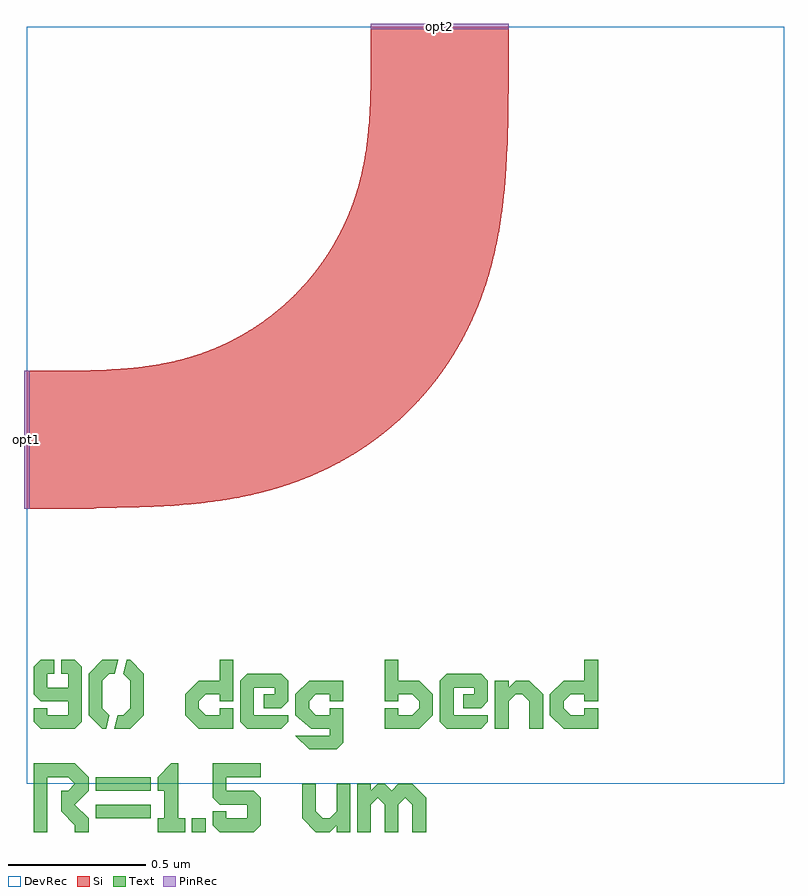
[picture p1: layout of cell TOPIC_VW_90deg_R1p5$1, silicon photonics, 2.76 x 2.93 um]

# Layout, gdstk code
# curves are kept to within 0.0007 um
import gdstk
lib = gdstk.Library(unit=1e-6, precision=1e-09)
def R(c, l, rs):  # rectangles x0, y0, x1, y1
    for r in rs: c.add(gdstk.rectangle(r[:2], r[2:], *l))
def P(c, l, *ps):  # polygons
    for p in ps: c.add(gdstk.Polygon(p, *l))
Si = (1, 0)
PinRec = (1, 10)
Text = (10, 0)
DevRec = (68, 0)

text_gdsfactorypcomponen = lib.new_cell('text_gdsfactorypcomponentsptextsptext_T90_deg_bend*R1p5_308bd01b$1')
R(text_gdsfactorypcomponen, Text, [(0.6,-0.375,0.65,-0.325), (0.25,-0.325,0.45,-0.275), (0.25,-0.225,0.45,-0.175)])
P(text_gdsfactorypcomponen, Text, [(1.05,-0.375),(1,-0.325),(1,-0.2),(1.05,-0.2),(1.05,-0.3),(1.075,-0.325),(1.1,-0.325),(1.125,-0.3),(1.125,-0.2),(1.175,-0.2),(1.175,-0.375),(1.125,-0.375),(1.125,-0.35),(1.1,-0.375)],
  [(0.475,-0.375),(0.475,-0.325),(0.5,-0.325),(0.5,-0.225),(0.475,-0.225),(0.475,-0.175),(0.525,-0.125),(0.55,-0.125),(0.55,-0.325),(0.575,-0.325),(0.575,-0.375)],
  [(1.2,-0.375),(1.2,-0.2),(1.25,-0.2),(1.25,-0.225),(1.275,-0.2),(1.3,-0.2),(1.325,-0.225),(1.35,-0.2),(1.4,-0.2),(1.45,-0.25),(1.45,-0.375),(1.4,-0.375),(1.4,-0.275),(1.375,-0.25),(1.35,-0.275),(1.35,-0.375),(1.3,-0.375),(1.3,-0.275),(1.275,-0.25),(1.25,-0.275),(1.25,-0.375)],
  [(0.8,0),(0.775,0.025),(0.775,0.175),(0.8,0.2),(0.925,0.2),(0.95,0.175),(0.95,0.1),(0.925,0.075),(0.86,0.075),(0.86,0.125),(0.9,0.125),(0.9,0.15),(0.825,0.15),(0.825,0.05),(0.95,0.05),(0.95,0.025),(0.925,0)],
  [(1.525,0),(1.5,0.025),(1.5,0.175),(1.525,0.2),(1.65,0.2),(1.675,0.175),(1.675,0.1),(1.65,0.075),(1.585,0.075),(1.585,0.125),(1.625,0.125),(1.625,0.15),(1.55,0.15),(1.55,0.05),(1.675,0.05),(1.675,0.025),(1.65,0)],
  [(0.05,0),(0.025,0.025),(0.025,0.075),(0.075,0.075),(0.075,0.05),(0.15,0.05),(0.15,0.1),(0.05,0.1),(0.025,0.125),(0.025,0.225),(0.05,0.25),(0.1,0.25),(0.1,0.2),(0.075,0.2),(0.075,0.15),(0.15,0.15),(0.15,0.2),(0.125,0.2),(0.125,0.25),(0.175,0.25),(0.2,0.225),(0.2,0.025),(0.175,0)],
  [(0.275,0),(0.225,0.05),(0.225,0.2),(0.275,0.25),(0.333,0.25),(0.32,0.2),(0.3,0.2),(0.275,0.175),(0.275,0.075),(0.3,0.05),(0.288,0)],
  [(0.025,-0.375),(0.025,-0.125),(0.175,-0.125),(0.225,-0.175),(0.225,-0.225),(0.175,-0.275),(0.225,-0.325),(0.225,-0.375),(0.175,-0.375),(0.175,-0.35),(0.125,-0.3),(0.125,-0.225),(0.15,-0.225),(0.175,-0.2),(0.15,-0.175),(0.075,-0.175),(0.075,-0.375)],
  [(1.025,-0.075),(0.975,-0.025),(1.1,-0.025),(1.1,0),(1.033,0),(0.975,0.05),(0.975,0.125),(1.025,0.175),(1.15,0.175),(1.15,0.1),(1.1,0.1),(1.1,0.125),(1.05,0.125),(1.025,0.1),(1.025,0.075),(1.05,0.05),(1.1,0.05),(1.1,0.075),(1.15,0.075),(1.15,-0.05),(1.125,-0.075)],
  [(0.7,-0.375),(0.675,-0.35),(0.675,-0.3),(0.725,-0.3),(0.725,-0.325),(0.8,-0.325),(0.8,-0.275),(0.7,-0.275),(0.675,-0.25),(0.675,-0.125),(0.85,-0.125),(0.85,-0.175),(0.725,-0.175),(0.725,-0.225),(0.825,-0.225),(0.85,-0.25),(0.85,-0.35),(0.825,-0.375)],
  [(1.7,0),(1.7,0.175),(1.75,0.175),(1.75,0.15),(1.775,0.175),(1.825,0.175),(1.875,0.125),(1.875,0),(1.825,0),(1.825,0.1),(1.8,0.125),(1.775,0.125),(1.75,0.1),(1.75,0)],
  [(0.318,0),(0.33,0.05),(0.35,0.05),(0.375,0.075),(0.375,0.175),(0.35,0.2),(0.363,0.25),(0.375,0.25),(0.425,0.2),(0.425,0.05),(0.375,0)],
  [(1.3,0),(1.3,0.075),(1.35,0.075),(1.35,0.05),(1.4,0.05),(1.425,0.075),(1.425,0.1),(1.4,0.125),(1.35,0.125),(1.35,0.1),(1.3,0.1),(1.3,0.25),(1.35,0.25),(1.35,0.175),(1.425,0.175),(1.475,0.125),(1.475,0.05),(1.425,0)],
  [(0.625,0),(0.575,0.05),(0.575,0.125),(0.625,0.175),(0.7,0.175),(0.7,0.25),(0.75,0.25),(0.75,0.1),(0.7,0.1),(0.7,0.125),(0.65,0.125),(0.625,0.1),(0.625,0.075),(0.65,0.05),(0.7,0.05),(0.7,0.075),(0.75,0.075),(0.75,0)],
  [(1.95,0),(1.9,0.05),(1.9,0.125),(1.95,0.175),(2.025,0.175),(2.025,0.25),(2.075,0.25),(2.075,0.1),(2.025,0.1),(2.025,0.125),(1.975,0.125),(1.95,0.1),(1.95,0.075),(1.975,0.05),(2.025,0.05),(2.025,0.075),(2.075,0.075),(2.075,0)])

topic_vw_90deg_r1p5_1 = lib.new_cell('TOPIC_VW_90deg_R1p5$1')
P(topic_vw_90deg_r1p5_1, Si, [(0,-0.25),(0,0.25),(0.174,0.25),(0.175,0.251),(0.231,0.251),(0.232,0.252),(0.264,0.252),(0.265,0.253),(0.308,0.254),(0.309,0.255),(0.34,0.256),(0.341,0.257),(0.353,0.257),(0.354,0.258),(0.365,0.258),(0.366,0.259),(0.376,0.259),(0.377,0.26),(0.387,0.26),(0.388,0.261),(0.414,0.263),(0.415,0.264),(0.421,0.264),(0.422,0.265),(0.43,0.265),(0.431,0.266),(0.437,0.266),(0.437,0.267),(0.458,0.269),(0.458,0.27),(0.47,0.271),(0.471,0.272),(0.482,0.273),(0.488,0.275),(0.493,0.275),(0.493,0.276),(0.498,0.276),(0.498,0.277),(0.503,0.277),(0.503,0.278),(0.508,0.278),(0.508,0.279),(0.513,0.279),(0.513,0.28),(0.518,0.28),(0.518,0.281),(0.527,0.282),(0.527,0.283),(0.536,0.284),(0.537,0.285),(0.56,0.29),(0.56,0.291),(0.568,0.292),(0.572,0.294),(0.575,0.294),(0.579,0.296),(0.596,0.3),(0.596,0.301),(0.599,0.301),(0.609,0.305),(0.612,0.305),(0.633,0.312),(0.633,0.313),(0.636,0.313),(0.639,0.315),(0.647,0.317),(0.65,0.319),(0.653,0.319),(0.653,0.32),(0.683,0.331),(0.688,0.334),(0.69,0.334),(0.69,0.335),(0.695,0.336),(0.695,0.337),(0.704,0.34),(0.706,0.341),(0.706,0.342),(0.711,0.343),(0.711,0.344),(0.715,0.345),(0.717,0.347),(0.726,0.35),(0.726,0.351),(0.73,0.352),(0.73,0.353),(0.734,0.354),(0.736,0.356),(0.738,0.356),(0.746,0.361),(0.748,0.361),(0.75,0.363),(0.774,0.375),(0.774,0.376),(0.778,0.377),(0.778,0.378),(0.79,0.384),(0.79,0.385),(0.795,0.388),(0.797,0.388),(0.802,0.392),(0.805,0.393),(0.805,0.394),(0.823,0.404),(0.823,0.405),(0.826,0.406),(0.826,0.407),(0.829,0.408),(0.829,0.409),(0.832,0.41),(0.857,0.427),(0.861,0.43),(0.861,0.431),(0.867,0.434),(0.867,0.435),(0.872,0.438),(0.872,0.439),(0.875,0.44),(0.875,0.441),(0.883,0.446),(0.884,0.448),(0.888,0.45),(0.892,0.454),(0.897,0.457),(0.897,0.458),(0.902,0.461),(0.902,0.462),(0.907,0.465),(0.907,0.466),(0.913,0.47),(0.914,0.472),(0.919,0.475),(0.921,0.478),(0.925,0.48),(0.926,0.482),(0.934,0.488),(0.935,0.49),(0.941,0.494),(0.949,0.503),(0.957,0.509),(0.957,0.51),(0.991,0.543),(0.997,0.551),(1.006,0.559),(1.01,0.565),(1.012,0.566),(1.018,0.574),(1.02,0.575),(1.022,0.579),(1.025,0.581),(1.028,0.586),(1.029,0.586),(1.034,0.593),(1.035,0.593),(1.038,0.598),(1.039,0.598),(1.042,0.603),(1.043,0.603),(1.046,0.608),(1.05,0.612),(1.052,0.616),(1.054,0.617),(1.084,0.659),(1.091,0.671),(1.092,0.671),(1.093,0.674),(1.094,0.674),(1.095,0.677),(1.096,0.677),(1.106,0.695),(1.107,0.695),(1.108,0.698),(1.112,0.703),(1.112,0.705),(1.115,0.71),(1.116,0.71),(1.119,0.717),(1.122,0.722),(1.123,0.722),(1.124,0.726),(1.125,0.726),(1.128,0.733),(1.13,0.735),(1.13,0.737),(1.139,0.752),(1.139,0.754),(1.14,0.756),(1.141,0.756),(1.141,0.758),(1.142,0.76),(1.143,0.76),(1.149,0.774),(1.15,0.774),(1.153,0.783),(1.155,0.785),(1.156,0.789),(1.157,0.789),(1.158,0.794),(1.159,0.794),(1.163,0.805),(1.164,0.805),(1.165,0.81),(1.166,0.81),(1.166,0.812),(1.171,0.822),(1.172,0.827),(1.173,0.827),(1.174,0.832),(1.175,0.832),(1.175,0.834),(1.177,0.837),(1.18,0.847),(1.181,0.847),(1.181,0.85),(1.187,0.864),(1.187,0.867),(1.188,0.867),(1.195,0.888),(1.195,0.891),(1.199,0.901),(1.199,0.904),(1.2,0.904),(1.2,0.907),(1.203,0.914),(1.204,0.921),(1.208,0.932),(1.209,0.94),(1.21,0.94),(1.21,0.943),(1.216,0.964),(1.219,0.982),(1.22,0.982),(1.22,0.987),(1.221,0.987),(1.221,0.992),(1.222,0.992),(1.222,0.997),(1.223,0.997),(1.223,1.002),(1.224,1.002),(1.224,1.007),(1.225,1.007),(1.225,1.012),(1.227,1.018),(1.23,1.042),(1.231,1.042),(1.233,1.063),(1.234,1.063),(1.234,1.069),(1.235,1.07),(1.235,1.078),(1.236,1.079),(1.236,1.085),(1.237,1.086),(1.239,1.112),(1.24,1.113),(1.242,1.146),(1.243,1.147),(1.243,1.159),(1.244,1.16),(1.244,1.174),(1.245,1.175),(1.245,1.191),(1.246,1.192),(1.247,1.235),(1.248,1.236),(1.248,1.268),(1.249,1.269),(1.249,1.325),(1.25,1.326),(1.25,1.5),(1.75,1.5),(1.75,1.256),(1.749,1.255),(1.749,1.177),(1.748,1.176),(1.748,1.132),(1.747,1.13),(1.746,1.07),(1.745,1.068),(1.745,1.047),(1.744,1.045),(1.744,1.027),(1.743,1.026),(1.741,0.977),(1.74,0.976),(1.739,0.95),(1.738,0.949),(1.738,0.938),(1.737,0.937),(1.737,0.926),(1.736,0.925),(1.734,0.894),(1.733,0.893),(1.73,0.858),(1.729,0.857),(1.729,0.851),(1.728,0.849),(1.728,0.843),(1.727,0.842),(1.723,0.806),(1.72,0.792),(1.72,0.786),(1.719,0.785),(1.717,0.768),(1.716,0.767),(1.716,0.762),(1.715,0.761),(1.715,0.756),(1.714,0.755),(1.712,0.74),(1.71,0.734),(1.71,0.729),(1.708,0.724),(1.706,0.71),(1.703,0.7),(1.701,0.686),(1.696,0.669),(1.695,0.661),(1.692,0.653),(1.691,0.645),(1.69,0.644),(1.688,0.633),(1.686,0.629),(1.686,0.626),(1.684,0.622),(1.68,0.604),(1.668,0.568),(1.668,0.565),(1.653,0.524),(1.651,0.516),(1.643,0.497),(1.642,0.492),(1.64,0.49),(1.639,0.485),(1.636,0.48),(1.634,0.473),(1.617,0.434),(1.611,0.423),(1.611,0.421),(1.604,0.408),(1.604,0.406),(1.602,0.404),(1.602,0.402),(1.6,0.4),(1.6,0.398),(1.598,0.396),(1.598,0.394),(1.596,0.392),(1.59,0.379),(1.588,0.377),(1.586,0.371),(1.584,0.369),(1.581,0.362),(1.575,0.353),(1.575,0.351),(1.572,0.348),(1.572,0.346),(1.563,0.332),(1.563,0.33),(1.56,0.327),(1.56,0.325),(1.556,0.32),(1.555,0.317),(1.554,0.317),(1.554,0.315),(1.553,0.315),(1.55,0.309),(1.549,0.309),(1.549,0.307),(1.548,0.307),(1.54,0.293),(1.539,0.293),(1.538,0.29),(1.537,0.29),(1.536,0.287),(1.535,0.287),(1.535,0.285),(1.533,0.284),(1.532,0.281),(1.53,0.278),(1.529,0.278),(1.529,0.276),(1.527,0.275),(1.526,0.272),(1.524,0.269),(1.523,0.269),(1.518,0.26),(1.516,0.259),(1.513,0.253),(1.511,0.252),(1.511,0.25),(1.509,0.249),(1.506,0.243),(1.504,0.242),(1.5,0.235),(1.498,0.234),(1.497,0.231),(1.496,0.231),(1.494,0.227),(1.492,0.226),(1.492,0.224),(1.491,0.224),(1.487,0.218),(1.486,0.218),(1.485,0.215),(1.483,0.214),(1.478,0.206),(1.475,0.204),(1.47,0.196),(1.469,0.196),(1.465,0.19),(1.462,0.188),(1.461,0.185),(1.459,0.184),(1.449,0.171),(1.445,0.168),(1.437,0.157),(1.436,0.157),(1.429,0.148),(1.419,0.139),(1.413,0.131),(1.412,0.131),(1.369,0.087),(1.361,0.081),(1.352,0.071),(1.346,0.067),(1.346,0.066),(1.337,0.059),(1.337,0.058),(1.332,0.055),(1.329,0.051),(1.324,0.048),(1.324,0.047),(1.316,0.041),(1.315,0.039),(1.312,0.038),(1.312,0.037),(1.306,0.033),(1.304,0.03),(1.296,0.025),(1.294,0.022),(1.286,0.017),(1.285,0.015),(1.282,0.014),(1.282,0.013),(1.277,0.01),(1.276,0.008),(1.274,0.008),(1.273,0.006),(1.266,0.002),(1.265,0),(1.258,-0.004),(1.257,-0.006),(1.251,-0.009),(1.25,-0.011),(1.248,-0.011),(1.247,-0.013),(1.241,-0.016),(1.24,-0.018),(1.225,-0.027),(1.224,-0.029),(1.222,-0.029),(1.222,-0.03),(1.216,-0.033),(1.215,-0.035),(1.213,-0.035),(1.213,-0.036),(1.21,-0.037),(1.21,-0.038),(1.207,-0.039),(1.207,-0.04),(1.199,-0.044),(1.199,-0.045),(1.193,-0.048),(1.193,-0.049),(1.191,-0.049),(1.191,-0.05),(1.188,-0.051),(1.185,-0.053),(1.185,-0.054),(1.183,-0.054),(1.183,-0.055),(1.18,-0.056),(1.175,-0.06),(1.173,-0.06),(1.17,-0.063),(1.168,-0.063),(1.154,-0.072),(1.152,-0.072),(1.149,-0.075),(1.147,-0.075),(1.129,-0.086),(1.123,-0.088),(1.121,-0.09),(1.108,-0.096),(1.106,-0.098),(1.104,-0.098),(1.102,-0.1),(1.1,-0.1),(1.098,-0.102),(1.096,-0.102),(1.094,-0.104),(1.092,-0.104),(1.055,-0.122),(1.027,-0.134),(1.02,-0.136),(1.015,-0.139),(1.01,-0.14),(1.008,-0.142),(1.003,-0.143),(0.984,-0.151),(0.976,-0.153),(0.935,-0.168),(0.932,-0.168),(0.919,-0.173),(0.916,-0.173),(0.906,-0.177),(0.903,-0.177),(0.896,-0.18),(0.878,-0.184),(0.867,-0.188),(0.847,-0.192),(0.843,-0.194),(0.831,-0.196),(0.814,-0.201),(0.776,-0.208),(0.771,-0.21),(0.766,-0.21),(0.76,-0.212),(0.75,-0.213),(0.744,-0.215),(0.739,-0.215),(0.738,-0.216),(0.733,-0.216),(0.732,-0.217),(0.727,-0.217),(0.726,-0.218),(0.721,-0.218),(0.72,-0.219),(0.715,-0.219),(0.714,-0.22),(0.708,-0.22),(0.694,-0.223),(0.688,-0.223),(0.687,-0.224),(0.658,-0.227),(0.657,-0.228),(0.643,-0.229),(0.642,-0.23),(0.607,-0.233),(0.606,-0.234),(0.575,-0.236),(0.574,-0.237),(0.563,-0.237),(0.562,-0.238),(0.551,-0.238),(0.55,-0.239),(0.524,-0.24),(0.523,-0.241),(0.474,-0.243),(0.473,-0.244),(0.455,-0.244),(0.453,-0.245),(0.432,-0.245),(0.43,-0.246),(0.37,-0.247),(0.368,-0.248),(0.324,-0.248),(0.323,-0.249),(0.245,-0.249),(0.244,-0.25)])
R(topic_vw_90deg_r1p5_1, DevRec, [(0,-1.25,2.75,1.5)])
topic_vw_90deg_r1p5_1.add(gdstk.FlexPath([(0.01,0),(-0.01,0)], 0.5, ends="flush", simple_path=True, layer=1, datatype=10))  # PinRec
topic_vw_90deg_r1p5_1.add(gdstk.FlexPath([(1.5,1.49),(1.5,1.51)], 0.5, ends="flush", simple_path=True, layer=1, datatype=10))  # PinRec
topic_vw_90deg_r1p5_1.add(gdstk.Reference(text_gdsfactorypcomponen, (0,-1.05)))
topic_vw_90deg_r1p5_1.add(gdstk.Label('opt1', (0,0), layer=1, texttype=10))
topic_vw_90deg_r1p5_1.add(gdstk.Label('opt2', (1.5,1.5), layer=1, texttype=10))

lib.write_gds('TOPIC_VW_90deg_R1p5_1.gds')
